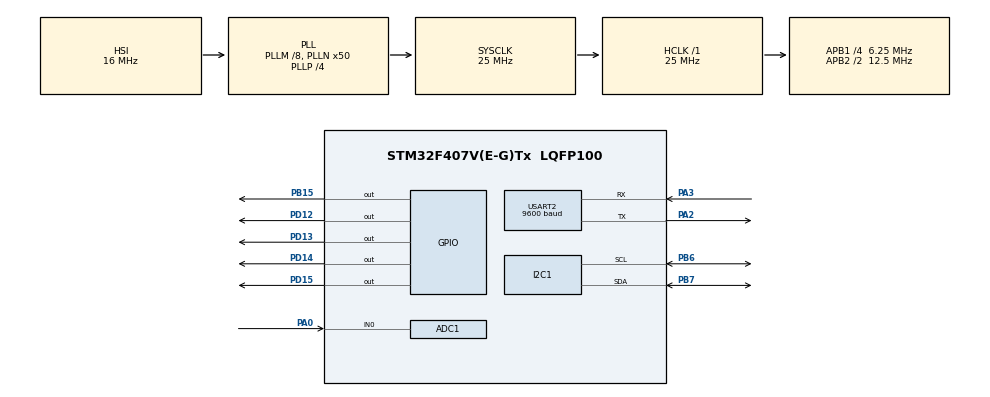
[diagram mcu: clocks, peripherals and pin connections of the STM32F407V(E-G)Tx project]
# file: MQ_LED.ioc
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ADC1.Channel-0\#ChannelRegularConversion=ADC_CHANNEL_0
ADC1.NbrOfConversionFlag=1
ADC1.Rank-0\#ChannelRegularConversion=1
ADC1.SamplingTime-0\#ChannelRegularConversion=ADC_SAMPLETIME_3CYCLES
ADC1.master=1
Mcu.Family=STM32F4
Mcu.Name=STM32F407V(E-G)Tx
Mcu.Package=LQFP100
NVIC.PriorityGroup=NVIC_PRIORITYGROUP_0
PA0-WKUP.Signal=ADCx_IN0
PA2.Mode=Asynchronous
PA2.Signal=USART2_TX
PA3.Mode=Asynchronous
PA3.Signal=USART2_RX
PB15.Signal=GPIO_Output
PB6.Mode=I2C
PB6.Signal=I2C1_SCL
PB7.Mode=I2C
PB7.Signal=I2C1_SDA
PD12.Signal=GPIO_Output
PD13.Signal=GPIO_Output
PD14.Signal=GPIO_Output
PD15.Signal=GPIO_Output
ProjectManager.HeapSize=0x200
ProjectManager.StackSize=0x400
ProjectManager.TargetToolchain=STM32CubeIDE
RCC.48MHZClocksFreq_Value=14285714.285714285
RCC.AHBFreq_Value=25000000
RCC.APB1CLKDivider=RCC_HCLK_DIV4
RCC.APB1Freq_Value=6250000
RCC.APB1TimFreq_Value=12500000
RCC.APB2CLKDivider=RCC_HCLK_DIV2
RCC.APB2Freq_Value=12500000
RCC.APB2TimFreq_Value=25000000
RCC.CortexFreq_Value=25000000
RCC.HCLKFreq_Value=25000000
RCC.HSE_VALUE=8000000
RCC.HSI_VALUE=16000000
RCC.LSE_VALUE=32768
RCC.PLLM=8
RCC.PLLN=50
RCC.PLLP=RCC_PLLP_DIV4
RCC.PLLQ=7
RCC.SYSCLKFreq_VALUE=25000000
RCC.SYSCLKSource=RCC_SYSCLKSOURCE_PLLCLK
RCC.VCOOutputFreq_Value=100000000
SH.ADCx_IN0.0=ADC1_IN0,IN0
USART2.BaudRate=9600
USART2.VirtualMode=VM_ASYNC
board=STM32F407G-DISC1

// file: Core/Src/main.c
/* USER CODE BEGIN Header */
/**
  ******************************************************************************
  * @file           : main.c
  * @brief          : Main program body
  ******************************************************************************
  * @attention
  *
  * Copyright (c) 2025 STMicroelectronics.
  * All rights reserved.
  *
  * This software is licensed under terms that can be found in the LICENSE file
  * in the root directory of this software component.
  * If no LICENSE file comes with this software, it is provided AS-IS.
  *
  ******************************************************************************
  */
/* USER CODE END Header */
#include "main.h"
#include "my_lcd.h"
#include "my_MQ2.h"
#include <stdio.h>

ADC_HandleTypeDef hadc1;

I2C_HandleTypeDef hi2c1;

UART_HandleTypeDef huart2;

void SystemClock_Config(void);
static void MX_GPIO_Init(void);
static void MX_ADC1_Init(void);
static void MX_I2C1_Init(void);
static void MX_USART2_UART_Init(void);

int main(void)
{

  /* MCU Configuration--------------------------------------------------------*/

  /* Reset of all peripherals, Initializes the Flash interface and the Systick. */
  HAL_Init();

  /* Configure the system clock */
  SystemClock_Config();

  /* Initialize all configured peripherals */
  MX_GPIO_Init();
  MX_ADC1_Init();
  MX_I2C1_Init();
  MX_USART2_UART_Init();

  /* Infinite loop */
  /* USER CODE BEGIN WHILE */
  uint16_t gas;
    char str[20];

    lcd16x2_i2c_init(&hi2c1);
    lcd16x2_i2c_clear();

    MQ2_Init(&hadc1);
  while (1)
  {
    /* USER CODE END WHILE */

    /* USER CODE BEGIN 3 */
	  gas = MQ2_Read();

	  lcd16x2_i2c_setCursor(0,0);
	  sprintf(str, "Gas:%d   ", gas);
	  lcd16x2_i2c_printf(str);
	  if (gas >= 350)
	  {
		  HAL_GPIO_WritePin(GPIOD, GPIO_PIN_15, GPIO_PIN_SET);
	  }
	  if (gas >= 500)
	  {
		  HAL_GPIO_WritePin(GPIOD, GPIO_PIN_14, GPIO_PIN_SET);
	  }
	  if (gas >= 700)
	  {
		  HAL_GPIO_WritePin(GPIOD, GPIO_PIN_13, GPIO_PIN_SET);
	  }

  if (gas >= 900)
  {
	  HAL_GPIO_WritePin(GPIOB, GPIO_PIN_15, GPIO_PIN_SET);
	  HAL_GPIO_WritePin(GPIOD, GPIO_PIN_12, GPIO_PIN_SET);
	  HAL_Delay(1000);
	  HAL_GPIO_WritePin(GPIOB, GPIO_PIN_15, GPIO_PIN_RESET);
	  HAL_GPIO_WritePin(GPIOD, GPIO_PIN_12, GPIO_PIN_RESET);
	  HAL_GPIO_WritePin(GPIOD, GPIO_PIN_13, GPIO_PIN_RESET);
	  HAL_GPIO_WritePin(GPIOD, GPIO_PIN_14, GPIO_PIN_RESET);
	  HAL_GPIO_WritePin(GPIOD, GPIO_PIN_15, GPIO_PIN_RESET);
  }
  HAL_Delay(500);

  }
  /* USER CODE END 3 */
}

void SystemClock_Config(void)
{
  RCC_OscInitTypeDef RCC_OscInitStruct = {0};
  RCC_ClkInitTypeDef RCC_ClkInitStruct = {0};

  /** Configure the main internal regulator output voltage
  */
  __HAL_RCC_PWR_CLK_ENABLE();
  __HAL_PWR_VOLTAGESCALING_CONFIG(PWR_REGULATOR_VOLTAGE_SCALE1);

  /** Initializes the RCC Oscillators according to the specified parameters
  * in the RCC_OscInitTypeDef structure.
  */
  RCC_OscInitStruct.OscillatorType = RCC_OSCILLATORTYPE_HSI;
  RCC_OscInitStruct.HSIState = RCC_HSI_ON;
  RCC_OscInitStruct.HSICalibrationValue = RCC_HSICALIBRATION_DEFAULT;
  RCC_OscInitStruct.PLL.PLLState = RCC_PLL_ON;
  RCC_OscInitStruct.PLL.PLLSource = RCC_PLLSOURCE_HSI;
  RCC_OscInitStruct.PLL.PLLM = 8;
  RCC_OscInitStruct.PLL.PLLN = 50;
  RCC_OscInitStruct.PLL.PLLP = RCC_PLLP_DIV4;
  RCC_OscInitStruct.PLL.PLLQ = 7;
  if (HAL_RCC_OscConfig(&RCC_OscInitStruct) != HAL_OK)
  {
    Error_Handler();
  }

  /** Initializes the CPU, AHB and APB buses clocks
  */
  RCC_ClkInitStruct.ClockType = RCC_CLOCKTYPE_HCLK|RCC_CLOCKTYPE_SYSCLK
                              |RCC_CLOCKTYPE_PCLK1|RCC_CLOCKTYPE_PCLK2;
  RCC_ClkInitStruct.SYSCLKSource = RCC_SYSCLKSOURCE_PLLCLK;
  RCC_ClkInitStruct.AHBCLKDivider = RCC_SYSCLK_DIV1;
  RCC_ClkInitStruct.APB1CLKDivider = RCC_HCLK_DIV4;
  RCC_ClkInitStruct.APB2CLKDivider = RCC_HCLK_DIV2;

  if (HAL_RCC_ClockConfig(&RCC_ClkInitStruct, FLASH_LATENCY_0) != HAL_OK)
  {
    Error_Handler();
  }
}

static void MX_ADC1_Init(void)
{

  ADC_ChannelConfTypeDef sConfig = {0};

  /** Configure the global features of the ADC (Clock, Resolution, Data Alignment and number of conversion)
  */
  hadc1.Instance = ADC1;
  hadc1.Init.ClockPrescaler = ADC_CLOCK_SYNC_PCLK_DIV2;
  hadc1.Init.Resolution = ADC_RESOLUTION_12B;
  hadc1.Init.ScanConvMode = DISABLE;
  hadc1.Init.ContinuousConvMode = DISABLE;
  hadc1.Init.DiscontinuousConvMode = DISABLE;
  hadc1.Init.ExternalTrigConvEdge = ADC_EXTERNALTRIGCONVEDGE_NONE;
  hadc1.Init.ExternalTrigConv = ADC_SOFTWARE_START;
  hadc1.Init.DataAlign = ADC_DATAALIGN_RIGHT;
  hadc1.Init.NbrOfConversion = 1;
  hadc1.Init.DMAContinuousRequests = DISABLE;
  hadc1.Init.EOCSelection = ADC_EOC_SINGLE_CONV;
  if (HAL_ADC_Init(&hadc1) != HAL_OK)
  {
    Error_Handler();
  }

  /** Configure for the selected ADC regular channel its corresponding rank in the sequencer and its sample time.
  */
  sConfig.Channel = ADC_CHANNEL_0;
  sConfig.Rank = 1;
  sConfig.SamplingTime = ADC_SAMPLETIME_3CYCLES;
  if (HAL_ADC_ConfigChannel(&hadc1, &sConfig) != HAL_OK)
  {
    Error_Handler();
  }

}

static void MX_I2C1_Init(void)
{

  hi2c1.Instance = I2C1;
  hi2c1.Init.ClockSpeed = 100000;
  hi2c1.Init.DutyCycle = I2C_DUTYCYCLE_2;
  hi2c1.Init.OwnAddress1 = 0;
  hi2c1.Init.AddressingMode = I2C_ADDRESSINGMODE_7BIT;
  hi2c1.Init.DualAddressMode = I2C_DUALADDRESS_DISABLE;
  hi2c1.Init.OwnAddress2 = 0;
  hi2c1.Init.GeneralCallMode = I2C_GENERALCALL_DISABLE;
  hi2c1.Init.NoStretchMode = I2C_NOSTRETCH_DISABLE;
  if (HAL_I2C_Init(&hi2c1) != HAL_OK)
  {
    Error_Handler();
  }

}

static void MX_USART2_UART_Init(void)
{

  huart2.Instance = USART2;
  huart2.Init.BaudRate = 9600;
  huart2.Init.WordLength = UART_WORDLENGTH_8B;
  huart2.Init.StopBits = UART_STOPBITS_1;
  huart2.Init.Parity = UART_PARITY_NONE;
  huart2.Init.Mode = UART_MODE_TX_RX;
  huart2.Init.HwFlowCtl = UART_HWCONTROL_NONE;
  huart2.Init.OverSampling = UART_OVERSAMPLING_16;
  if (HAL_UART_Init(&huart2) != HAL_OK)
  {
    Error_Handler();
  }

}

static void MX_GPIO_Init(void)
{
  GPIO_InitTypeDef GPIO_InitStruct = {0};

  /* GPIO Ports Clock Enable */
  __HAL_RCC_GPIOA_CLK_ENABLE();
  __HAL_RCC_GPIOB_CLK_ENABLE();
  __HAL_RCC_GPIOD_CLK_ENABLE();

  /*Configure GPIO pin Output Level */
  HAL_GPIO_WritePin(GPIOB, GPIO_PIN_15, GPIO_PIN_RESET);

  /*Configure GPIO pin Output Level */
  HAL_GPIO_WritePin(GPIOD, GPIO_PIN_12|GPIO_PIN_13|GPIO_PIN_14|GPIO_PIN_15, GPIO_PIN_RESET);

  /*Configure GPIO pin : PB15 */
  GPIO_InitStruct.Pin = GPIO_PIN_15;
  GPIO_InitStruct.Mode = GPIO_MODE_OUTPUT_PP;
  GPIO_InitStruct.Pull = GPIO_NOPULL;
  GPIO_InitStruct.Speed = GPIO_SPEED_FREQ_LOW;
  HAL_GPIO_Init(GPIOB, &GPIO_InitStruct);

  /*Configure GPIO pins : PD12 PD13 PD14 PD15 */
  GPIO_InitStruct.Pin = GPIO_PIN_12|GPIO_PIN_13|GPIO_PIN_14|GPIO_PIN_15;
  GPIO_InitStruct.Mode = GPIO_MODE_OUTPUT_PP;
  GPIO_InitStruct.Pull = GPIO_NOPULL;
  GPIO_InitStruct.Speed = GPIO_SPEED_FREQ_LOW;
  HAL_GPIO_Init(GPIOD, &GPIO_InitStruct);

}

void Error_Handler(void)
{
  __disable_irq();
  while (1)
  {
  }
}
